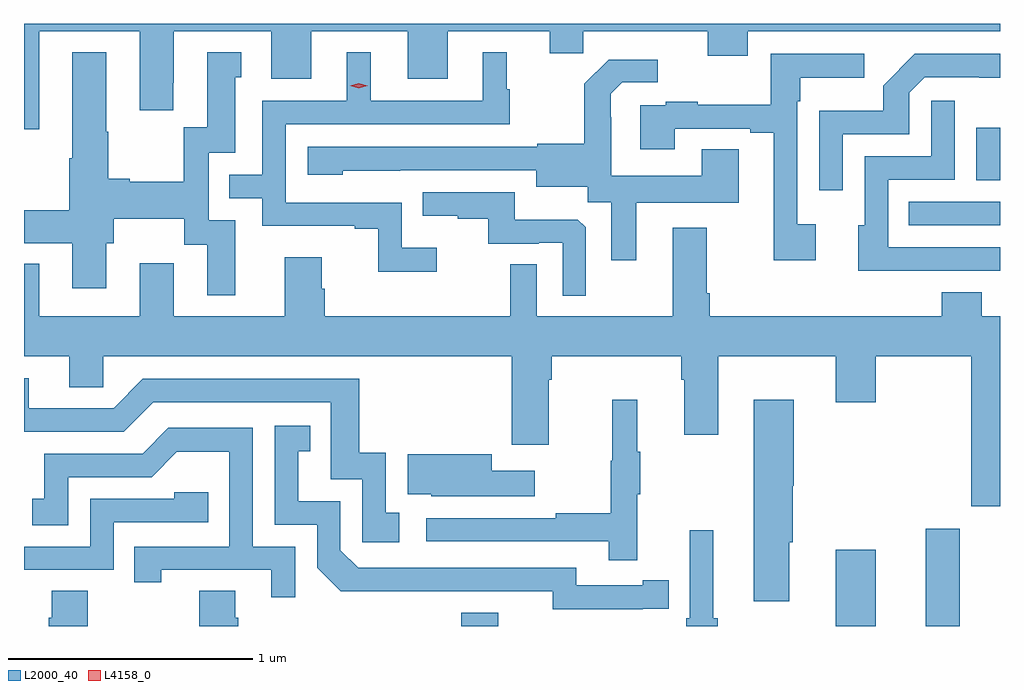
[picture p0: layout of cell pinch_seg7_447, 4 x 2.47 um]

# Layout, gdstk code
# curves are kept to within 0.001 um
import gdstk
lib = gdstk.Library(unit=1e-6, precision=1e-09)
def R(c, l, rs):  # rectangles x0, y0, x1, y1
    for r in rs: c.add(gdstk.rectangle(r[:2], r[2:], *l))
def P(c, l, *ps):  # polygons
    for p in ps: c.add(gdstk.Polygon(p, *l))
L2000_40 = (2000, 40)
L4158_0 = (4158, 0)

pinch_seg7_447 = lib.new_cell('pinch_seg7_447')
R(pinch_seg7_447, L2000_40, [(307.328,1079.43,307.48,1079.485), (308.864,1079.43,309.028,1079.743), (309.233,1079.43,309.373,1079.83), (309.163,1081.074,309.537,1081.17), (309.44,1081.259,309.537,1081.474)])
P(pinch_seg7_447, L2000_40, [(305.599,1081.868),(306.011,1081.868),(306.011,1081.545),(306.148,1081.545),(306.148,1081.657),(306.151,1081.657),(306.151,1081.868),(306.551,1081.868),(306.551,1081.674),(306.715,1081.674),(306.715,1081.868),(307.109,1081.868),(307.109,1081.674),(307.273,1081.674),(307.273,1081.868),(307.691,1081.868),(307.691,1081.778),(307.829,1081.778),(307.829,1081.868),(308.339,1081.868),(308.339,1081.769),(308.503,1081.769),(308.503,1081.868),(309.537,1081.868),(309.537,1081.9),(305.537,1081.9),(305.537,1081.467),(305.599,1081.467)],
  [(307.228,1080.982),(307.086,1080.982),(307.086,1081.167),(306.609,1081.167),(306.609,1081.488),(307.528,1081.488),(307.528,1081.632),(307.516,1081.632),(307.516,1081.783),(307.418,1081.783),(307.418,1081.584),(306.958,1081.584),(306.958,1081.783),(306.86,1081.783),(306.86,1081.584),(306.513,1081.584),(306.513,1081.281),(306.379,1081.281),(306.379,1081.185),(306.513,1081.185),(306.513,1081.071),(306.893,1081.071),(306.893,1081.059),(306.988,1081.059),(306.988,1080.884),(307.228,1080.884)],
  [(306.403,1081.095),(306.294,1081.095),(306.294,1081.371),(306.403,1081.371),(306.403,1081.68),(306.427,1081.68),(306.427,1081.783),(306.287,1081.783),(306.287,1081.476),(306.191,1081.476),(306.191,1081.252),(305.971,1081.252),(305.971,1081.265),(305.883,1081.265),(305.883,1081.457),(305.875,1081.457),(305.875,1081.783),(305.735,1081.783),(305.735,1081.348),(305.723,1081.348),(305.723,1081.136),(305.537,1081.136),(305.537,1081.001),(305.735,1081.001),(305.735,1080.816),(305.875,1080.816),(305.875,1081.001),(305.905,1081.001),(305.905,1081.1),(306.193,1081.1),(306.193,1080.994),(306.287,1080.994),(306.287,1080.786),(306.403,1080.786)],
  [(308.892,1081.446),(309.165,1081.446),(309.165,1081.617),(309.228,1081.68),(309.537,1081.679),(309.537,1081.776),(309.188,1081.776),(309.058,1081.646),(309.058,1081.543),(308.796,1081.543),(308.796,1081.218),(308.892,1081.218)],
  [(308.782,1081.078),(308.706,1081.078),(308.706,1081.583),(308.719,1081.583),(308.719,1081.679),(308.98,1081.679),(308.98,1081.776),(308.598,1081.776),(308.598,1081.568),(308.299,1081.568),(308.299,1081.579),(308.167,1081.579),(308.167,1081.566),(308.063,1081.566),(308.063,1081.386),(308.203,1081.386),(308.203,1081.47),(308.513,1081.47),(308.513,1081.452),(308.609,1081.452),(308.609,1080.93),(308.782,1080.93)],
  [(308.047,1081.166),(308.467,1081.166),(308.467,1081.385),(308.315,1081.385),(308.315,1081.276),(307.944,1081.276),(307.944,1081.517),(307.942,1081.517),(307.942,1081.612),(307.989,1081.659),(308.134,1081.659),(308.134,1081.753),(307.933,1081.753),(307.833,1081.653),(307.833,1081.408),(307.641,1081.408),(307.641,1081.395),(306.699,1081.395),(306.699,1081.28),(306.843,1081.28),(306.843,1081.298),(307.637,1081.299),(307.637,1081.232),(307.848,1081.232),(307.848,1081.168),(307.943,1081.168),(307.943,1080.93),(308.047,1080.93)],
  [(309.175,1080.888),(309.537,1080.888),(309.537,1080.984),(309.078,1080.984),(309.078,1081.26),(309.351,1081.26),(309.351,1081.585),(309.255,1081.585),(309.255,1081.356),(308.982,1081.356),(308.982,1081.074),(308.957,1081.074),(308.957,1080.887),(309.175,1080.887)],
  [(307.839,1081.065),(307.807,1081.097),(307.549,1081.097),(307.549,1081.209),(307.171,1081.209),(307.171,1081.112),(307.315,1081.112),(307.315,1081.101),(307.439,1081.101),(307.439,1080.999),(307.646,1080.999),(307.646,1081.002),(307.746,1081.002),(307.746,1080.785),(307.839,1080.785)],
  [(309.537,1080.7),(309.463,1080.7),(309.463,1080.799),(309.299,1080.799),(309.299,1080.7),(308.348,1080.7),(308.348,1080.796),(308.335,1080.796),(308.335,1081.063),(308.195,1081.063),(308.195,1080.7),(307.638,1080.7),(307.638,1080.914),(307.53,1080.914),(307.53,1080.7),(306.77,1080.7),(306.77,1080.813),(306.757,1080.813),(306.757,1080.943),(306.605,1080.943),(306.605,1080.7),(306.151,1080.7),(306.151,1080.919),(306.011,1080.919),(306.011,1080.7),(305.599,1080.7),(305.599,1080.916),(305.537,1080.916),(305.537,1080.536),(305.723,1080.536),(305.723,1080.409),(305.862,1080.409),(305.862,1080.536),(307.535,1080.536),(307.535,1080.174),(307.687,1080.174),(307.687,1080.44),(307.7,1080.44),(307.7,1080.536),(308.231,1080.536),(308.231,1080.44),(308.243,1080.44),(308.243,1080.216),(308.383,1080.216),(308.383,1080.536),(308.864,1080.536),(308.864,1080.348),(309.028,1080.348),(309.028,1080.536),(309.419,1080.536),(309.419,1079.922),(309.537,1079.922)],
  [(307.075,1079.895),(307.02,1079.895),(307.02,1080.142),(306.911,1080.142),(306.911,1080.444),(306.024,1080.444),(305.904,1080.324),(305.557,1080.324),(305.557,1080.447),(305.537,1080.447),(305.537,1080.228),(305.946,1080.228),(306.066,1080.348),(306.795,1080.348),(306.795,1080.033),(306.924,1080.033),(306.924,1079.775),(307.075,1079.775)],
  [(308.674,1079.775),(308.687,1079.775),(308.687,1080.006),(308.692,1080.006),(308.692,1080.358),(308.528,1080.358),(308.528,1079.532),(308.674,1079.532)],
  [(308.051,1079.971),(308.062,1079.971),(308.062,1080.145),(308.051,1080.145),(308.051,1080.358),(307.948,1080.358),(307.948,1080.108),(307.941,1080.108),(307.941,1079.894),(307.717,1079.894),(307.717,1079.874),(307.185,1079.874),(307.185,1079.778),(307.933,1079.778),(307.933,1079.7),(308.051,1079.7)],
  [(308.072,1079.502),(308.18,1079.502),(308.18,1079.618),(308.072,1079.618),(308.072,1079.598),(307.8,1079.598),(307.8,1079.67),(306.906,1079.67),(306.834,1079.742),(306.834,1079.943),(306.661,1079.943),(306.661,1080.147),(306.71,1080.147),(306.71,1080.253),(306.564,1080.253),(306.564,1079.847),(306.738,1079.847),(306.738,1079.67),(306.836,1079.573),(307.704,1079.574),(307.704,1079.501)],
  [(306.648,1079.757),(306.474,1079.757),(306.474,1080.243),(306.128,1080.243),(306.023,1080.138),(305.62,1080.138),(305.62,1079.953),(305.571,1079.953),(305.571,1079.844),(305.718,1079.844),(305.718,1080.042),(306.06,1080.042),(306.164,1080.146),(306.378,1080.146),(306.378,1079.757),(305.989,1079.757),(305.989,1079.61),(306.1,1079.61),(306.1,1079.661),(306.551,1079.661),(306.551,1079.55),(306.648,1079.55)],
  [(307.63,1080.067),(307.453,1080.067),(307.453,1080.136),(307.109,1080.136),(307.109,1079.972),(307.206,1079.972),(307.206,1079.963),(307.63,1079.963)],
  [(305.904,1079.856),(306.293,1079.856),(306.293,1079.979),(306.153,1079.979),(306.153,1079.952),(305.808,1079.952),(305.808,1079.757),(305.537,1079.757),(305.537,1079.661),(305.904,1079.661)],
  [(308.381,1079.464),(308.362,1079.464),(308.362,1079.824),(308.265,1079.824),(308.265,1079.464),(308.252,1079.464),(308.252,1079.43),(308.381,1079.43)],
  [(306.416,1079.466),(306.403,1079.466),(306.403,1079.576),(306.256,1079.576),(306.256,1079.43),(306.416,1079.43)],
  [(305.799,1079.576),(305.651,1079.576),(305.651,1079.466),(305.639,1079.466),(305.639,1079.43),(305.799,1079.43)])
P(pinch_seg7_447, L4158_0, [(306.909,1081.636),(306.874,1081.646),(306.873,1081.646),(306.874,1081.646),(306.909,1081.656),(306.944,1081.646),(306.945,1081.646),(306.944,1081.646)])

lib.write_gds('pinch_seg7_447.gds')
